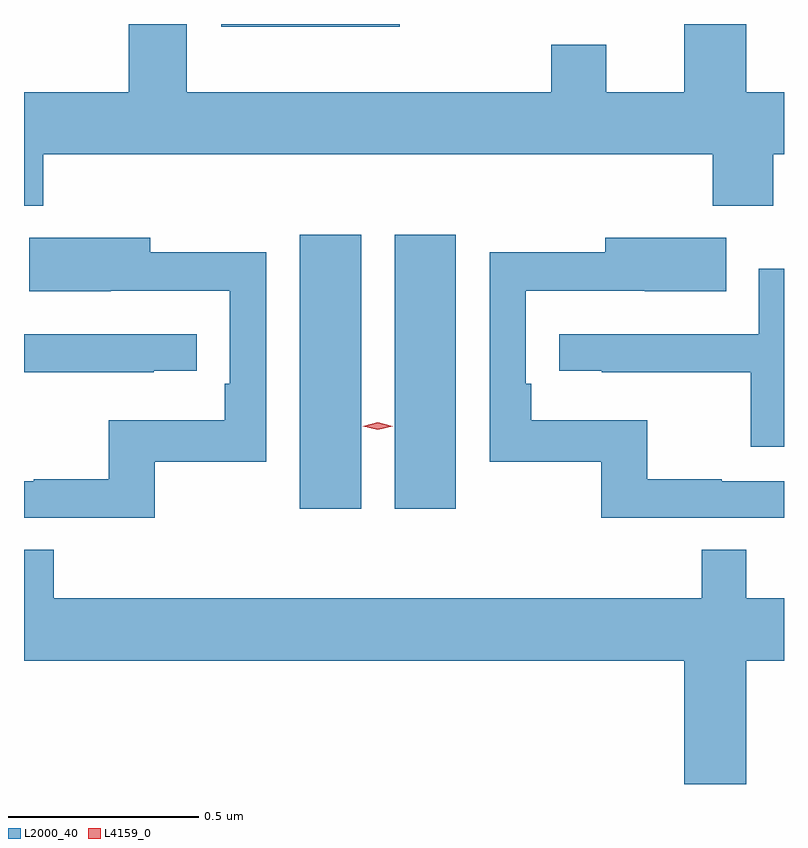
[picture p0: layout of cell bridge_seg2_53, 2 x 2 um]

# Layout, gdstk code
import gdstk
lib = gdstk.Library(unit=1e-6, precision=1e-09)
def R(c, l, rs):  # rectangles x0, y0, x1, y1
    for r in rs: c.add(gdstk.rectangle(r[:2], r[2:], *l))
def P(c, l, *ps):  # polygons
    for p in ps: c.add(gdstk.Polygon(p, *l))
L2000_40 = (2000, 40)
L4159_0 = (4159, 0)

bridge_seg2_53 = lib.new_cell('bridge_seg2_53')
R(bridge_seg2_53, L2000_40, [(1135.025,642.708,1135.186,643.429), (1135.274,642.708,1135.435,643.429), (1134.818,643.976,1135.288,643.983)])
P(bridge_seg2_53, L2000_40, [(1134.35,643.64),(1136.111,643.64),(1136.111,643.505),(1136.271,643.505),(1136.271,643.64),(1136.299,643.64),(1136.299,643.804),(1136.2,643.804),(1136.2,643.983),(1136.036,643.983),(1136.036,643.804),(1135.831,643.804),(1135.831,643.928),(1135.687,643.928),(1135.687,643.804),(1134.727,643.804),(1134.727,643.983),(1134.575,643.983),(1134.575,643.804),(1134.299,643.804),(1134.299,643.505),(1134.35,643.505)],
  [(1134.643,642.831),(1134.936,642.831),(1134.936,643.382),(1134.631,643.382),(1134.631,643.42),(1134.313,643.42),(1134.313,643.28),(1134.527,643.28),(1134.527,643.281),(1134.84,643.281),(1134.84,643.036),(1134.827,643.036),(1134.827,642.94),(1134.522,642.94),(1134.522,642.785),(1134.325,642.785),(1134.325,642.78),(1134.299,642.78),(1134.299,642.684),(1134.643,642.684)],
  [(1136.299,642.78),(1136.135,642.78),(1136.135,642.785),(1135.939,642.785),(1135.939,642.94),(1135.634,642.94),(1135.634,643.036),(1135.62,643.036),(1135.62,643.281),(1135.933,643.281),(1135.933,643.28),(1136.147,643.28),(1136.147,643.42),(1135.829,643.42),(1135.829,643.382),(1135.524,643.382),(1135.524,642.831),(1135.818,642.831),(1135.818,642.684),(1136.299,642.684)],
  [(1136.299,643.339),(1136.232,643.339),(1136.232,643.167),(1135.707,643.167),(1135.707,643.071),(1135.819,643.071),(1135.819,643.066),(1136.212,643.066),(1136.212,642.87),(1136.299,642.87)],
  [(1134.641,643.071),(1134.754,643.071),(1134.754,643.167),(1134.299,643.167),(1134.299,643.066),(1134.641,643.066)],
  [(1136.2,642.308),(1136.299,642.308),(1136.299,642.472),(1136.199,642.472),(1136.199,642.599),(1136.083,642.599),(1136.083,642.472),(1134.377,642.472),(1134.377,642.599),(1134.299,642.599),(1134.299,642.308),(1136.036,642.308),(1136.036,641.983),(1136.2,641.983)])
P(bridge_seg2_53, L4159_0, [(1135.23,642.915),(1135.19,642.925),(1135.19,642.925),(1135.19,642.925),(1135.23,642.935),(1135.27,642.925),(1135.27,642.925),(1135.27,642.924)])

lib.write_gds('bridge_seg2_53.gds')
